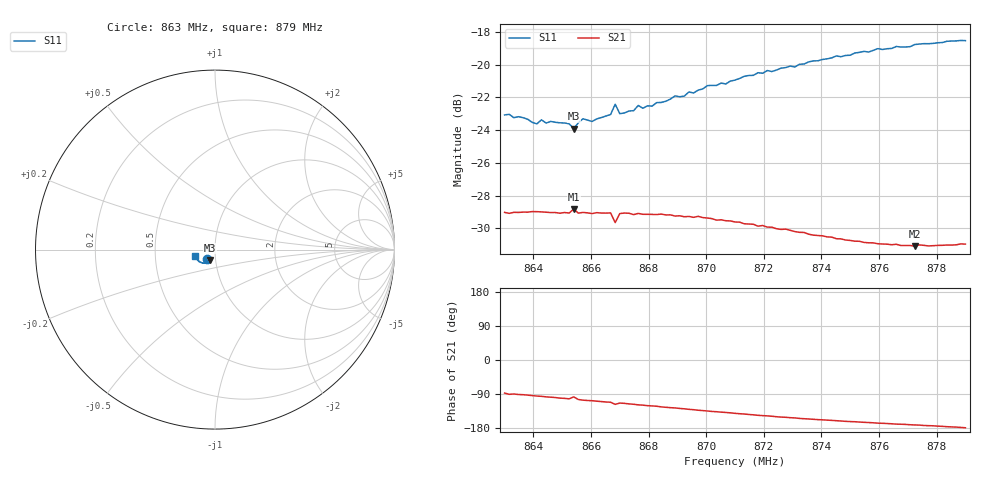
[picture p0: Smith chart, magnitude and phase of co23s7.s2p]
# HZ S RI R 50
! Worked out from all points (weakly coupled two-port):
!   101 points, 863 MHz to 879 MHz, reference 50 ohm
!   highest |S21| = -28.81 dB at 865.4 MHz (marker M1); lowest = -31.1 dB at 877.24 MHz (marker M2)
!   lowest |S11| = -23.9 dB at 865.4 MHz (marker M3), VSWR 1.14, Z = 46.9 - j5.38 ohm
!   |S11| at or under -10 dB: start of sweep to end of sweep
!   S12 and S22 are empty: the file has one direction only
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8.63e8  -0.0444 -0.0544  0.00175 -0.0354  0 0  0 0
8.6412e8  -0.0374 -0.0543  -0.00316 -0.0355  0 0  0 0
8.6428e8  -0.0378 -0.0563  -0.00365 -0.0353  0 0  0 0
8.6444e8  -0.0389 -0.0536  -0.00447 -0.0352  0 0  0 0
8.6524e8  -0.0354 -0.0557  -0.0076 -0.0344  0 0  0 0
8.654e8  -0.0286 -0.0571  -0.00466 -0.036  0 0  0 0
8.6556e8  -0.0354 -0.0562  -0.00868 -0.0341  0 0  0 0
8.6572e8  -0.0348 -0.0588  -0.00972 -0.034  0 0  0 0
8.6604e8  -0.0334 -0.0581  -0.0105 -0.0335  0 0  0 0
8.6668e8  -0.035 -0.0611  -0.0129 -0.0328  0 0  0 0
8.6684e8  -0.0405 -0.0639  -0.015 -0.0294  0 0  0 0
8.67e8  -0.0338 -0.0623  -0.0141 -0.0322  0 0  0 0
8.6748e8  -0.0343 -0.0637  -0.0157 -0.0311  0 0  0 0
8.6764e8  -0.0365 -0.0656  -0.0167 -0.0309  0 0  0 0
8.678e8  -0.0348 -0.0649  -0.017 -0.0305  0 0  0 0
8.6844e8  -0.0364 -0.0675  -0.0194 -0.0291  0 0  0 0
8.7004e8  -0.0442 -0.074  -0.0239 -0.0242  0 0  0 0
8.71e8  -0.05 -0.0744  -0.0256 -0.0209  0 0  0 0
8.7372e8  -0.0695 -0.0755  -0.0277 -0.012  0 0  0 0
8.7644e8  -0.0937 -0.0614  -0.0276 -0.00572  0 0  0 0
8.7724e8  -0.1008 -0.0556  -0.0276 -0.00419  0 0  0 0
8.79e8  -0.1119 -0.0383  -0.0283 -0.000586  0 0  0 0
